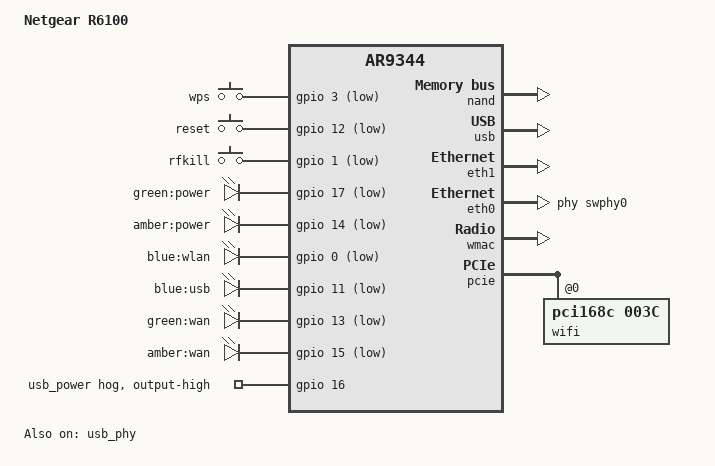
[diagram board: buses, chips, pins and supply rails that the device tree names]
// SPDX-License-Identifier: GPL-2.0-or-later OR MIT

#include "ar9344.dtsi"

#include <dt-bindings/gpio/gpio.h>
#include <dt-bindings/input/input.h>
#include <dt-bindings/mtd/partitions/uimage.h>

/ {
	compatible = "netgear,r6100", "qca,ar9344";
	model = "Netgear R6100";

	chosen {
		bootargs = "console=ttyS0,115200n8";
	};

	aliases {
		led-boot = &led_power_amber;
		led-failsafe = &led_power_amber;
		led-running = &led_power_green;
		led-upgrade = &led_power_amber;
		label-mac-device = &eth0;
	};

	keys {
		compatible = "gpio-keys";

		wps {
			label = "wps";
			linux,code = <KEY_WPS_BUTTON>;
			gpios = <&gpio 3 GPIO_ACTIVE_LOW>;
		};

		reset {
			label = "reset";
			linux,code = <KEY_RESTART>;
			gpios = <&gpio 12 GPIO_ACTIVE_LOW>;
		};

		rfkill {
			label = "rfkill";
			linux,code = <KEY_RFKILL>;
			gpios = <&gpio 1 GPIO_ACTIVE_LOW>;
		};
	};

	leds {
		compatible = "gpio-leds";

		pinctrl-names = "default";
		pinctrl-0 = <&enable_gpio_11>;

		led_power_green: power_green {
			label = "green:power";
			gpios = <&gpio 17 GPIO_ACTIVE_LOW>;
		};

		led_power_amber: power_amber {
			label = "amber:power";
			gpios = <&gpio 14 GPIO_ACTIVE_LOW>;
			default-state = "keep";
		};

		led_wlan {
			label = "blue:wlan";
			gpios = <&gpio 0 GPIO_ACTIVE_LOW>;
			linux,default-trigger = "phy0tpt";
		};

		led_usb {
			label = "blue:usb";
			gpios = <&gpio 11 GPIO_ACTIVE_LOW>;
			trigger-sources = <&hub_port>;
			linux,default-trigger = "usbport";
		};

		wan_green {
			label = "green:wan";
			gpios = <&gpio 13 GPIO_ACTIVE_LOW>;
		};

		wan_amber {
			label = "amber:wan";
			gpios = <&gpio 15 GPIO_ACTIVE_LOW>;
		};
	};
};

&gpio {
	usb_power {
		gpio-hog;
		gpios = <16 0>;
		output-high;
	};
};

&pinmux {
	enable_gpio_11: pinmux_enable_gpio_11 {
		pinctrl-single,bits = <0x8 0x0 0xff000000>;
	};
};

&nand {
	status = "okay";

	partitions {
		compatible = "fixed-partitions";
		#address-cells = <1>;
		#size-cells = <1>;

		partition@0 {
			label = "u-boot";
			reg = <0x0 0x20000>;
			read-only;
		};

		caldata: partition@20000 {
			label = "caldata";
			reg = <0x20000 0x40000>;
			read-only;
		};

		partition@60000 {
			label = "caldata-backup";
			reg = <0x60000 0x40000>;
			read-only;
		};

		partition@a0000 {
			label = "config";
			reg = <0xa0000 0x80000>;
		};

		partition@120000 {
			label = "pot";
			reg = <0x120000 0x80000>;
		};

		partition@1a0000 {
			label = "kernel";
			reg = <0x1a0000 0x400000>;
		};

		partition@5a0000 {
			label = "ubi";
			reg = <0x5a0000 0x7560000>;
		};

		partition@7b00000 {
			label = "language";
			reg = <0x7b00000 0x200000>;
		};

		partition@7d00000 {
			label = "traffic_meter";
			reg = <0x7d00000 0x300000>;
		};

		firmware@1a0000 {
			label = "firmware";
			reg = <0x1a0000 0x1900000>;
		};
	};
};

&ref {
	clock-frequency = <40000000>;
};

&usb_phy {
	status = "okay";
};

&usb {
	status = "okay";
	#address-cells = <1>;
	#size-cells = <0>;

	hub_port: port@1 {
		reg = <1>;
		#trigger-source-cells = <0>;
	};
};

&builtin_switch {
	/delete-property/qca,phy4-mii-enable;
};

&eth1 {
	status = "okay";

	nvmem-cells = <&macaddr_caldata_0>;
	nvmem-cell-names = "mac-address";
};

&eth0 {
	status = "okay";

	nvmem-cells = <&macaddr_caldata_6>;
	nvmem-cell-names = "mac-address";

	phy-handle = <&swphy0>;
};

&wmac {
	status = "okay";

	qca,no-eeprom;

	nvmem-cells = <&macaddr_caldata_0>;
	nvmem-cell-names = "mac-address";
};

&pcie {
	status = "okay";

	wifi@0,0 {
		compatible = "pci168c,003c";
		reg = <0x0000 0 0 0 0>;

		nvmem-cells = <&macaddr_caldata_c>;
		nvmem-cell-names = "mac-address";
	};
};

&caldata {
	compatible = "nvmem-cells";
	#address-cells = <1>;
	#size-cells = <1>;

	macaddr_caldata_0: macaddr@0 {
		reg = <0x0 0x6>;
	};

	macaddr_caldata_6: macaddr@6 {
		reg = <0x6 0x6>;
	};

	macaddr_caldata_c: macaddr@c {
		reg = <0xc 0x6>;
	};
};
